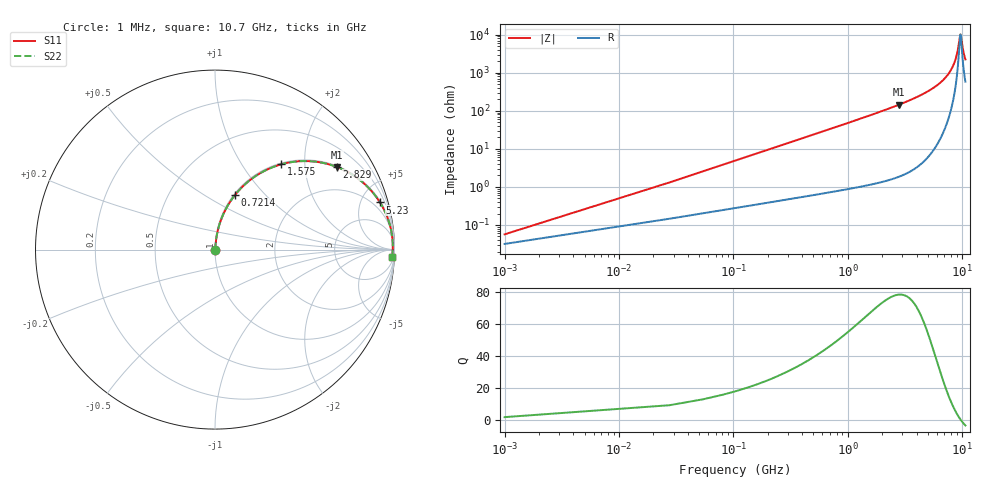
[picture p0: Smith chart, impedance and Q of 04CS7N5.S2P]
! Coilcraft 0402CS-7N5 Chip Inductor
! 29 May 2002
# MHZ S MA R 50
!Freq  MagS11  AngS11  MagS21  AngS21  MagS12  AngS12  MagS22  AngS22
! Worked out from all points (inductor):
!   403 points, 1 MHz to 10.7 GHz, reference 50 ohm
!   read as one part in series: L = 7.5 nH near 54.36 MHz
!   highest Q = 78.1 at 2.829 GHz (marker M1), where L = 8.2 nH
!   self-resonance near 9.686 GHz
!   S11 on the Smith chart (normalised r, x): 1 MHz: 1.00, +0.00; 721.4 MHz: 1.01, +0.68; 1.575 GHz: 1.02, +1.52; 2.829 GHz: 1.04, +2.91; 5.23 GHz: 1.14, +6.96; 10.7 GHz: 13, -43
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1  0.0005683 56.0  0.9997 -0.0  0.9997 -0.0  0.0005683 56.0
81.04  0.03815 84.1  0.9968 -2.2  0.9968 -2.2  0.03815 84.1
107.72  0.05064 83.9  0.9959 -2.9  0.9959 -2.9  0.05064 83.9
161.08  0.07553 83.1  0.9937 -4.3  0.9937 -4.3  0.07553 83.1
241.12  0.1126 81.4  0.9895 -6.5  0.9895 -6.5  0.1126 81.4
374.52  0.1732 78.3  0.9797 -10.0  0.9797 -10.0  0.1732 78.3
721.36  0.3214 70.0  0.9401 -18.7  0.9401 -18.7  0.3214 70.0
1094.88  0.4599 61.6  0.8799 -27.4  0.8799 -27.4  0.4599 61.6
1575.12  0.602 52.1  0.7895 -37.0  0.7895 -37.0  0.602 52.1
1788.56  0.6529 48.4  0.7482 -40.8  0.7482 -40.8  0.6529 48.4
2829.08  0.8197 34.2  0.5624 -55.0  0.5624 -55.0  0.8197 34.2
3576.12  0.8851 27.0  0.4537 -62.3  0.4537 -62.3  0.8851 27.0
5230.28  0.956 16.0  0.2749 -72.9  0.2749 -72.9  0.956 16.0
5363.68  0.9593 15.3  0.2632 -73.5  0.2632 -73.5  0.9593 15.3
7151.24  0.9845 7.6  0.1332 -79.5  0.1332 -79.5  0.9845 7.6
8218.44  0.9897 4.1  0.07218 -79.7  0.07218 -79.7  0.9897 4.1
8938.8  0.9907 2.0  0.0362 -74.1  0.0362 -74.1  0.9907 2.0
9579.12  0.9904 0.3  0.01091 -27.7  0.01091 -27.7  0.9904 0.3
9685.84  0.9902 0.0  0.009801 -1.9  0.009801 -1.9  0.9902 0.0
9792.56  0.99 -0.3  0.0109 23.6  0.0109 23.6  0.99 -0.3
10272.8  0.9889 -1.4  0.02731 65.4  0.02731 65.4  0.9889 -1.4
10700  0.9876 -2.4  0.04423 72.5  0.04423 72.5  0.9876 -2.4
